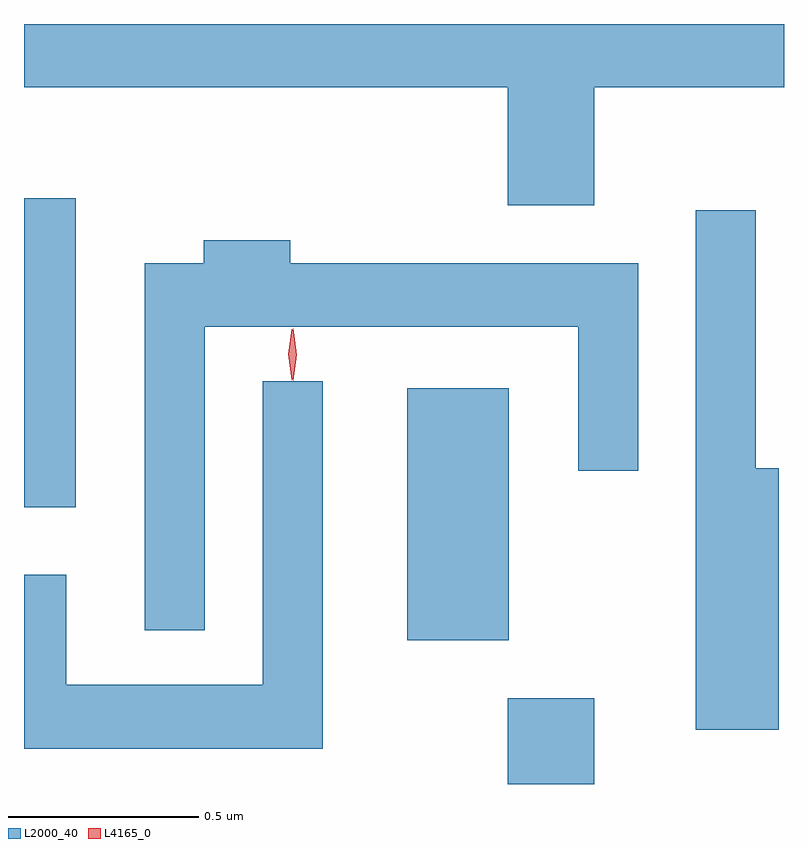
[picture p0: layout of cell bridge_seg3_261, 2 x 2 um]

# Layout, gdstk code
import gdstk
lib = gdstk.Library(unit=1e-6, precision=1e-09)
def R(c, l, rs):  # rectangles x0, y0, x1, y1
    for r in rs: c.add(gdstk.rectangle(r[:2], r[2:], *l))
def P(c, l, *ps):  # polygons
    for p in ps: c.add(gdstk.Polygon(p, *l))
L2000_40 = (2000, 40)
L4165_0 = (4165, 0)

bridge_seg3_261 = lib.new_cell('bridge_seg3_261')
R(bridge_seg3_261, L2000_40, [(928.511,1141.943,928.739,1142.169), (928.246,1142.321,928.514,1142.984), (927.238,1142.671,927.374,1143.484)])
P(bridge_seg3_261, L2000_40, [(928.739,1143.776),(929.238,1143.776),(929.238,1143.943),(927.238,1143.943),(927.238,1143.776),(928.511,1143.776),(928.511,1143.466),(928.739,1143.466)],
  [(929.224,1142.774),(929.164,1142.774),(929.164,1143.453),(929.006,1143.453),(929.006,1142.086),(929.224,1142.086)],
  [(927.714,1143.146),(928.696,1143.146),(928.696,1142.768),(928.854,1142.768),(928.854,1143.314),(927.939,1143.314),(927.939,1143.374),(927.711,1143.374),(927.711,1143.314),(927.556,1143.314),(927.556,1142.348),(927.714,1142.348)],
  [(928.024,1143.003),(927.866,1143.003),(927.866,1142.204),(927.349,1142.204),(927.349,1142.494),(927.238,1142.494),(927.238,1142.036),(928.024,1142.036)])
P(bridge_seg3_261, L4165_0, [(927.943,1143.007),(927.933,1143.074),(927.943,1143.14),(927.943,1143.14),(927.944,1143.14),(927.953,1143.074),(927.944,1143.007),(927.944,1143.007)],
  [(927.946,1143.004),(927.946,1143.004),(927.936,1143.073),(927.946,1143.143),(927.946,1143.143),(927.947,1143.143),(927.956,1143.073),(927.947,1143.004)])

lib.write_gds('bridge_seg3_261.gds')
